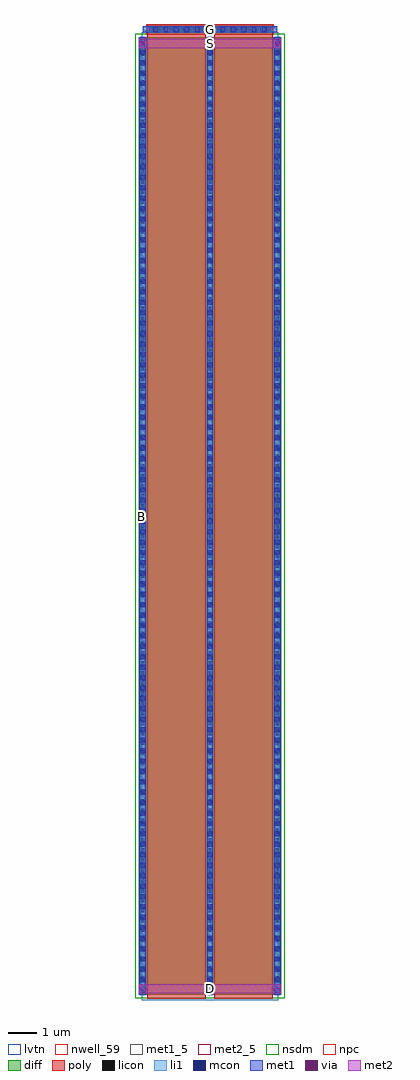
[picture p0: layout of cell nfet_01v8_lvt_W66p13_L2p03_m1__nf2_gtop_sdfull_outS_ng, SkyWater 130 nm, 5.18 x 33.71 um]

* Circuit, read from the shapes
.subckt nfet_01v8_lvt_W66p13_L2p03_m1__nf2_gtop_sdfull_outS_ng B D G S
XM1 D G S B sky130_fd_pr__nfet_01v8_lvt w=33.07 l=2.03 m=2
.ends

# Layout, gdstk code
import gdstk
lib = gdstk.Library(unit=1e-6, precision=1e-09)
def R(c, l, rs):  # rectangles x0, y0, x1, y1
    for r in rs: c.add(gdstk.rectangle(r[:2], r[2:], *l))
def A(c, l, x, y, w, h, nx, ny, dx, dy):  # array of equal rectangles
    R(c, l, [(x+i*dx, y+j*dy, x+i*dx+w, y+j*dy+h) for i in range(nx) for j in range(ny)])
nwell_59 = (64, 59)
diff = (65, 20)
poly = (66, 20)
licon = (66, 44)
li1 = (67, 20)
mcon = (67, 44)
met1_5 = (68, 5)
met1 = (68, 20)
via = (68, 44)
met2_5 = (69, 5)
met2 = (69, 20)
nsdm = (93, 44)
npc = (95, 20)
lvtn = (125, 44)

sky130_fd_pr__nfet_01v8_ = lib.new_cell('sky130_fd_pr__nfet_01v8_lvt_2AK5SA')
R(sky130_fd_pr__nfet_01v8_, diff, [(-2.465,-16.69,2.465,16.38)])
R(sky130_fd_pr__nfet_01v8_, poly, [(-2.175,-16.82,-0.145,16.82), (0.145,-16.82,2.175,16.82)])
A(sky130_fd_pr__nfet_01v8_, licon, -2.405, -16.56, 0.17, 0.17, 3, 97, 2.32, 0.34)
A(sky130_fd_pr__nfet_01v8_, licon, -2.095, 16.57, 0.17, 0.17, 6, 1, 0.34, 0)
A(sky130_fd_pr__nfet_01v8_, licon, 0.225, 16.57, 0.17, 0.17, 6, 1, 0.34, 0)
A(sky130_fd_pr__nfet_01v8_, li1, -2.405, -16.71, 0.17, 33.11, 3, 1, 2.32, 0)
R(sky130_fd_pr__nfet_01v8_, li1, [(-2.32,16.57,2.32,16.74)])
A(sky130_fd_pr__nfet_01v8_, mcon, -2.405, -16.62, 0.17, 0.17, 3, 92, 2.32, 0.36)
A(sky130_fd_pr__nfet_01v8_, mcon, -1.965, 16.57, 0.17, 0.17, 5, 1, 0.36, 0)
A(sky130_fd_pr__nfet_01v8_, mcon, 0.355, 16.57, 0.17, 0.17, 5, 1, 0.36, 0)
A(sky130_fd_pr__nfet_01v8_, met1, -2.435, -16.69, 0.23, 33.07, 3, 1, 2.32, 0)
R(sky130_fd_pr__nfet_01v8_, met1, [(-2.155,16.54,-0.165,16.57), (0.165,16.54,2.155,16.57), (-2.32,16.57,2.32,16.74), (-2.155,16.74,-0.165,16.77), (0.165,16.74,2.155,16.77)])
R(sky130_fd_pr__nfet_01v8_, nsdm, [(-2.59,-16.815,2.59,16.505)])
R(sky130_fd_pr__nfet_01v8_, npc, [(-2.195,16.47,2.195,16.84)])
R(sky130_fd_pr__nfet_01v8_, lvtn, [(-2.355,-16.87,2.355,16.56)])
sky130_fd_pr__nfet_01v8_.add(gdstk.Label('D0', (-2.32,-0.155), layer=67, texttype=5))
sky130_fd_pr__nfet_01v8_.add(gdstk.Label('G', (1.16,16.655), layer=67, texttype=5))
sky130_fd_pr__nfet_01v8_.add(gdstk.Label('G', (-1.16,16.655), layer=67, texttype=5))
sky130_fd_pr__nfet_01v8_.add(gdstk.Label('S1', (0,-0.155), layer=67, texttype=5))

nfet_01v8_lvt_w66p13_l2p = lib.new_cell('nfet_01v8_lvt_W66p13_L2p03_m1__nf2_gtop_sdfull_outS_ng')
R(nfet_01v8_lvt_w66p13_l2p, nwell_59, [(0.05,16.615,0.15,16.715)])
R(nfet_01v8_lvt_w66p13_l2p, met1_5, [(0.145,33.36,4.785,33.59)])
R(nfet_01v8_lvt_w66p13_l2p, met1, [(2.335,0.18,2.595,0.5), (0.015,32.83,0.275,33.15), (4.655,32.83,4.915,33.15), (0.145,33.36,4.785,33.59)])
R(nfet_01v8_lvt_w66p13_l2p, via, [(2.39,0.265,2.54,0.415), (0.07,32.915,0.22,33.065), (4.71,32.915,4.86,33.065)])
R(nfet_01v8_lvt_w66p13_l2p, met2_5, [(0.01,0.18,4.92,0.5), (0.01,32.83,4.92,33.15)])
R(nfet_01v8_lvt_w66p13_l2p, met2, [(0.01,0.18,4.92,0.5), (0.01,32.83,4.92,33.15)])
nfet_01v8_lvt_w66p13_l2p.add(gdstk.Reference(sky130_fd_pr__nfet_01v8_, (2.465,16.82)))
nfet_01v8_lvt_w66p13_l2p.add(gdstk.Label('S', (2.465,32.99), layer=69, texttype=5))
nfet_01v8_lvt_w66p13_l2p.add(gdstk.Label('D', (2.465,0.34), layer=69, texttype=5))
nfet_01v8_lvt_w66p13_l2p.add(gdstk.Label('G', (2.465,33.475), layer=68, texttype=5))
nfet_01v8_lvt_w66p13_l2p.add(gdstk.Label('B', (0.1,16.665), layer=64, texttype=59))

lib.write_gds('nfet_01v8_lvt_W66p13_L2p03_m1__nf2_gtop_sdfull_outS_ng.gds')
